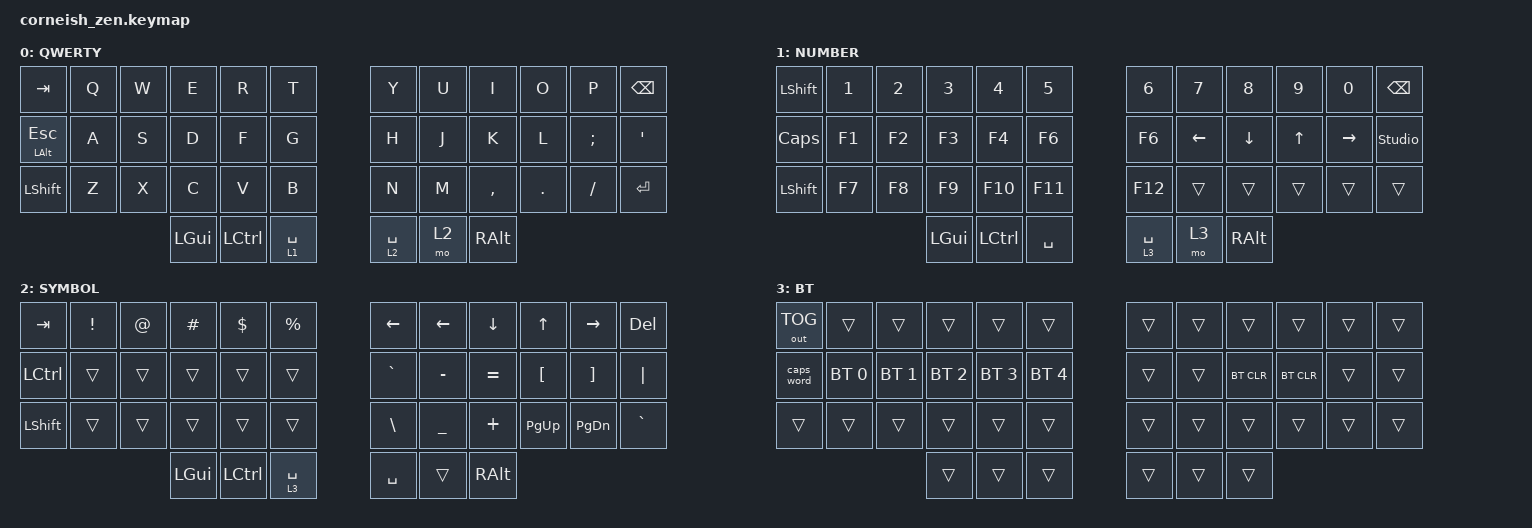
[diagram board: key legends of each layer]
#include <behaviors.dtsi>
#include <dt-bindings/zmk/bt.h>
#include <dt-bindings/zmk/keys.h>
#include <dt-bindings/zmk/outputs.h>

/ {
    chosen {
        zmk,physical-layout = &foostan_corne_6col_layout;

        // zmk,physical-layout = &foostan_corne_5col_layout;
    };
};

/ {
    keymap {
        compatible = "zmk,keymap";

        default_layer {
            display-name = "QWERTY";

            // --------------------------------------------------------------------------------
            // |  TAB |  Q  |  W  |  E  |  R  |  T  |   |  Y  |  U   |  I  |  O  |  P  | BSPC |
            // | CTRL |  A  |  S  |  D  |  F  |  G  |   |  H  |  J   |  K  |  L  |  ;  |  '   |
            // | SHFT |  Z  |  X  |  C  |  V  |  B  |   |  N  |  M   |  ,  |  .  |  /  | ESC  |
            //                    | GUI | LWR | SPC |   | ENT | RSE  | ALT |

            bindings = <
&kp TAB              &kp Q  &kp W  &kp E     &kp R      &kp T          &kp Y        &kp U  &kp I      &kp O    &kp P     &kp BSPC
&mt LEFT_ALT ESCAPE  &kp A  &kp S  &kp D     &kp F      &kp G          &kp H        &kp J  &kp K      &kp L    &kp SEMI  &kp SQT
&kp LSHFT            &kp Z  &kp X  &kp C     &kp V      &kp B          &kp N        &kp M  &kp COMMA  &kp DOT  &kp FSLH  &kp ENTER
                                   &kp LGUI  &kp LCTRL  &lt 1 SPACE    &lt 2 SPACE  &mo 2  &kp RALT
            >;
        };

        lower_layer {
            display-name = "NUMBER";

            // -----------------------------------------------------------------------------------------
            // |  TAB |  1  |  2  |  3  |  4  |  5  |   |  6  |  7  |  8  |  9  |  0  | BSPC |
            // | BTCLR| BT1 | BT2 | BT3 | BT4 | BT5 |   | LFT | DWN |  UP | RGT |     |Studio|
            // | SHFT |     |     |     |     |     |   |     |     |     |     |     |      |
            //                    | GUI |     | SPC |   | ENT |     | ALT |

            bindings = <
&kp LSHIFT  &kp N1  &kp N2  &kp N3    &kp N4     &kp N5       &kp N6       &kp N7    &kp N8    &kp N9  &kp N0     &kp BSPC
&kp CAPS    &kp F1  &kp F2  &kp F3    &kp F4     &kp F6       &kp F6       &kp LEFT  &kp DOWN  &kp UP  &kp RIGHT  &studio_unlock
&kp LSHIFT  &kp F7  &kp F8  &kp F9    &kp F10    &kp F11      &kp F12      &trans    &trans    &trans  &trans     &trans
                            &kp LGUI  &kp LCTRL  &kp SPACE    &lt 3 SPACE  &mo 3     &kp RALT
            >;
        };

        raise_layer {
            display-name = "SYMBOL";

            // -----------------------------------------------------------------------------------------
            // |  TAB |  !  |  @  |  #  |  $  |  %  |   |  ^  |  &  |  *  |  (  |  )  | BSPC |
            // | CTRL |     |     |     |     |     |   |  -  |  =  |  [  |  ]  |  \  |  `   |
            // | SHFT |     |     |     |     |     |   |  _  |  +  |  {  |  }  | "|" |  ~   |
            //                    | GUI |     | SPC |   | ENT |     | ALT |

            bindings = <
&kp TAB    &kp EXCL  &kp AT  &kp HASH  &kp DLLR   &kp PRCNT      &kp LEFT       &kp LEFT   &kp DOWN   &kp UP       &kp RIGHT      &kp DEL
&kp LCTRL  &trans    &trans  &trans    &trans     &trans         &kp GRAVE      &kp MINUS  &kp EQUAL  &kp LBKT     &kp RBKT       &kp PIPE
&kp LSHFT  &trans    &trans  &trans    &trans     &trans         &kp BACKSLASH  &kp UNDER  &kp PLUS   &kp PAGE_UP  &kp PAGE_DOWN  &kp GRAVE
                             &kp LGUI  &kp LCTRL  &lt 3 SPACE    &kp SPACE      &trans     &kp RALT
            >;
        };

        BT {
            display-name = "BT";
            bindings = <
&out OUT_TOG  &trans        &trans        &trans        &trans        &trans          &trans  &trans  &trans      &trans      &trans  &trans
&caps_word    &bt BT_SEL 0  &bt BT_SEL 1  &bt BT_SEL 2  &bt BT_SEL 3  &bt BT_SEL 4    &trans  &trans  &bt BT_CLR  &bt BT_CLR  &trans  &trans
&trans        &trans        &trans        &trans        &trans        &trans          &trans  &trans  &trans      &trans      &trans  &trans
                                          &trans        &trans        &trans          &trans  &trans  &trans
            >;
        };
    };
};
